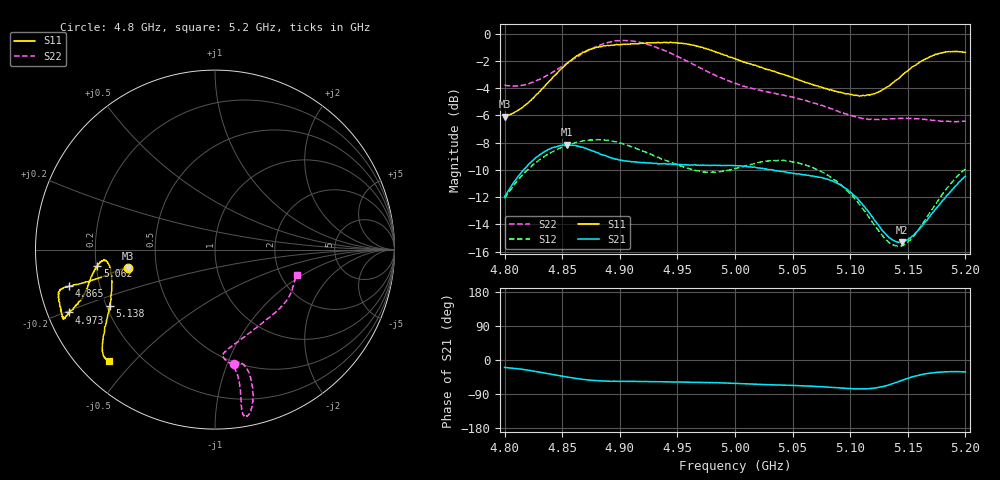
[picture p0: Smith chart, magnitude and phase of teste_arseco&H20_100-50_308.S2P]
! Network Analyzer HP8722D
! Hewlett-Packard
! Data name: Linha & Wilkinson
! Saver's name: Rodrigo Anjos
! Comments: Teste da utilização de aquisição
! continua pelo VNA HP8722D
! Time and date: 6/5/2025 15:08
!  Frequency  S11  S21  S12  S22
# HZ  S  MA R 50
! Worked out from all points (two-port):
!   401 points, 4.8 GHz to 5.2 GHz, reference 50 ohm
!   highest |S21| = -8.16 dB at 4.854 GHz (marker M1); lowest = -15.3 dB at 5.145 GHz (marker M2)
!   |S21| within 3 dB of the highest: 4.806 GHz to 5.093 GHz (286.4 MHz wide, 5.79 % of centre); 5.191895 GHz to end of sweep
!   lowest |S11| = -6.1 dB at 4.8 GHz (marker M3), VSWR 2.97, Z = 17 - j4.59 ohm
!   |S11| at or under -10 dB: nowhere
!   |S22| runs from -6.5 to -0.5 dB; largest |S21 - S12| = 0.62
!   S11 on the Smith chart (normalised r, x): 4.8 GHz: 0.34, -0.09; 4.865 GHz: 0.09, -0.12; 4.973 GHz: 0.06, -0.21; 5.062 GHz: 0.20, -0.07; 5.138 GHz: 0.21, -0.24; 5.2 GHz: 0.09, -0.43
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4.8e9  0.4963 -168.2  0.2519 -19.6  0.2485 -140.9  0.6479 -80.4
4.826e9  0.5873 -167.2  0.347 -29.6  0.3329 -144.5  0.6677 -75.7
4.854e9  0.7764 -165.8  0.3908 -44.9  0.3891 -149.8  0.7787 -74.7
4.865e9  0.8412 -166.0  0.3849 -50.0  0.4013 -151.7  0.8322 -75.2
4.867e9  0.8497 -165.8  0.3833 -50.8  0.4029 -152.0  0.843 -75.4
4.899e9  0.9117 -162.8  0.344 -56.5  0.3975 -156.7  0.9435 -79.1
4.915e9  0.9189 -159.6  0.337 -56.8  0.3781 -157.1  0.934 -80.3
4.934e9  0.9273 -156.3  0.3325 -57.6  0.351 -155.6  0.8836 -80.4
4.951e9  0.9249 -155.5  0.3306 -58.2  0.3287 -152.5  0.8221 -80.0
4.973e9  0.8854 -156.7  0.3288 -59.5  0.3105 -145.8  0.738 -79.7
5e9  0.8108 -159.1  0.3277 -61.8  0.3194 -137.2  0.657 -81.3
5.036e9  0.7218 -165.6  0.3137 -65.9  0.3419 -134.3  0.6018 -85.6
5.062e9  0.6615 -172.2  0.3024 -68.5  0.3285 -136.3  0.5679 -83.8
5.067e9  0.6523 -173.0  0.3003 -68.9  0.3234 -136.8  0.5597 -82.6
5.083e9  0.6219 -174.5  0.2888 -72.2  0.2972 -138.2  0.5312 -76.8
5.101e9  0.5986 -172.0  0.2605 -75.9  0.2557 -138.7  0.5008 -66.6
5.115e9  0.5964 -166.0  0.2246 -75.9  0.2153 -135.9  0.4864 -56.6
5.134e9  0.6441 -154.4  0.1778 -65.2  0.1705 -120.8  0.4859 -43.3
5.138e9  0.6646 -151.8  0.1736 -61.1  0.1673 -115.7  0.4865 -40.8
5.145e9  0.7034 -148.2  0.1714 -53.5  0.1666 -106.1  0.4887 -37.0
5.174e9  0.8409 -138.5  0.2266 -32.9  0.2367 -80.3  0.4797 -23.9
5.2e9  0.8535 -133.6  0.2997 -31.2  0.3185 -76.9  0.4772 -17.6
